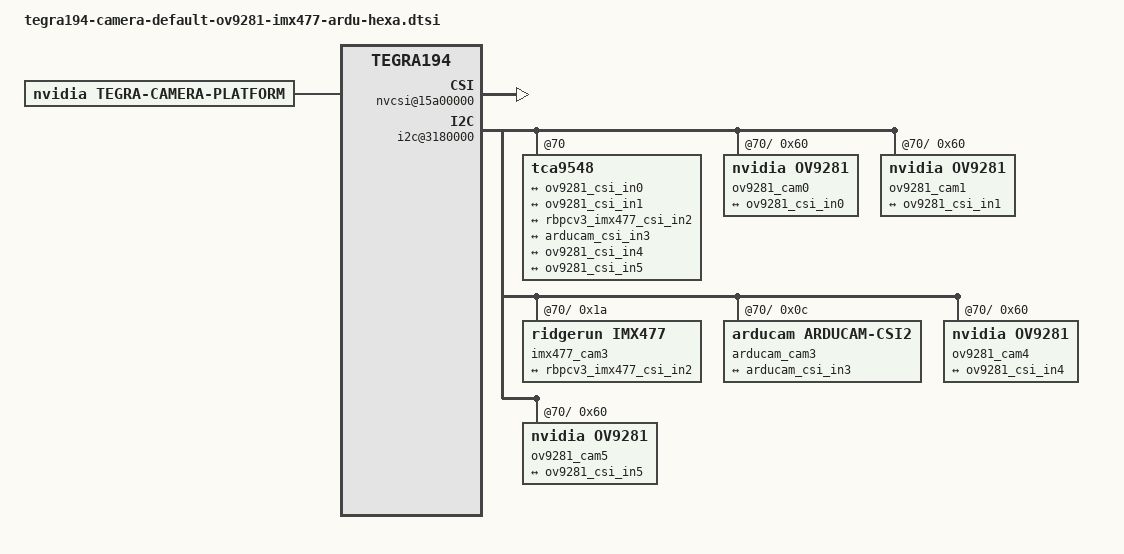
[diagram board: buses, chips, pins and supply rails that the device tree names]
/*
 * Copyright (c) 2015-2019, NVIDIA CORPORATION.  All rights reserved.
 *
 * This program is free software; you can redistribute it and/or modify
 * it under the terms of the GNU General Public License as published by
 * the Free Software Foundation; either version 2 of the License, or
 * (at your option) any later version.
 *
 * This program is distributed in the hope that it will be useful, but WITHOUT
 * ANY WARRANTY; without even the implied warranty of MERCHANTABILITY or
 * FITNESS FOR A PARTICULAR PURPOSE.  See the GNU General Public License for
 * more details.
 *
 * You should have received a copy of the GNU General Public License
 * along with this program.  If not, see <http://www.gnu.org/licenses/>.
 */

#include <dt-bindings/media/camera.h>
/ {
	tegra-capture-vi  {
			num-channels = <6>;
			ports {
				status="okay";
				#address-cells = <1>;
				#size-cells = <0>;
				port@0 {
					status="okay";
					reg = <0>;
					ov9281_vi_in0: endpoint {
						status="okay";
						port-index = <0>;
						bus-width = <2>;
						remote-endpoint = <&ov9281_csi_out0>;
					};
				};
				port@1 {
					status="okay";
					reg = <1>;
					ov9281_vi_in1: endpoint {
						status="okay";
						port-index = <2>;
						bus-width = <2>;
						remote-endpoint = <&ov9281_csi_out1>;
					};
				};
				port@2 {
					status="okay";
					reg = <2>;
					rbpcv3_imx477_vi_in2: endpoint {
						status="okay";
						port-index = <3>;
						bus-width = <2>;
						remote-endpoint = <&rbpcv3_imx477_csi_out2>;
					};
				};
				port@3 {  
					status="okay";
					reg = <3>;					
					arducam_vi_in3: endpoint {
						status="okay";
						port-index = <4>;
						bus-width = <2>;
						remote-endpoint = <&arducam_csi_out3>;
					};
				};
				port@4 {
					status="okay";
					reg = <4>;
					ov9281_vi_in4: endpoint {
						status="okay";
						port-index = <1>;
						bus-width = <2>;
						remote-endpoint = <&ov9281_csi_out4>;
					};
				};
				port@5 {
					status="okay";
					reg = <5>;
					ov9281_vi_in5: endpoint {
						status="okay";
						port-index = <5>;
						bus-width = <2>;
						remote-endpoint = <&ov9281_csi_out5>;
					};
				};				
			};
		
	};
	
	host1x@13e00000 {	
		nvcsi@15a00000 {
			num-channels = <6>;
			#address-cells = <1>;
			#size-cells = <0>;
			status="okay";
			channel@0 {
				reg = <0>;
				status="okay";
				ports {
					#address-cells = <1>;
					#size-cells = <0>;
					status="okay";
					port@0 {
						reg = <0>;
						status="okay";
						ov9281_csi_in0: endpoint@0 {
							status="okay";
							port-index = <0>;
							bus-width = <2>;
							remote-endpoint = <&ov9281_out0>;
						};
					};
					port@1 {
						reg = <1>;
						status="okay";
						ov9281_csi_out0: endpoint@1 {
							status="okay";
							remote-endpoint = <&ov9281_vi_in0>;
						};
					};
				};
			};
			channel@1 {
				reg = <1>;
				status="okay";
				ports {
					#address-cells = <1>;
					#size-cells = <0>;
					status="okay";
					port@0 {
						status="okay";
						reg = <0>;
						ov9281_csi_in1: endpoint@2 {
							status="okay";
							port-index = <2>;
							bus-width = <2>;
							remote-endpoint = <&ov9281_out1>;
						};
					};
					csi_chan1_port1: port@1 {
						reg = <1>;
						status="okay";
						ov9281_csi_out1: endpoint@3 {
							status="okay";
							remote-endpoint = <&ov9281_vi_in1>;
						};
					};
				};
			};
			channel@2 {
				reg = <2>;
				status="okay";
				ports {
					#address-cells = <1>;
					#size-cells = <0>;
					status="okay";
					port@0 {
						status="okay";
						reg = <0>;
						rbpcv3_imx477_csi_in2: endpoint@4 {
							status="okay";
							port-index = <3>;
							bus-width = <2>;
							remote-endpoint = <&rbpcv3_imx477_out2>;
						};
					};
					port@1 {
						status="okay";
						reg = <1>;
						rbpcv3_imx477_csi_out2: endpoint@5 {
							status="okay";
							remote-endpoint = <&rbpcv3_imx477_vi_in2>;
						};
					};
				};
			};
			channel@3 {
				reg = <3>;
				status="okay";
				ports {
					#address-cells = <1>;
					#size-cells = <0>;
					status="okay";
					port@0 {
						status="okay";
						reg = <0>;						
						arducam_csi_in3: endpoint@6 {
							status="okay";
							port-index = <4>;
							bus-width = <2>;
							remote-endpoint = <&arducam_out3>;
						};
					};
					csi_chan3_port1: port@1 {
						status="okay";
						reg = <1>;						
						arducam_csi_out3: endpoint@7 {
							status="okay";
							remote-endpoint = <&arducam_vi_in3>;
						};
					};
				};
			};
			channel@4 {
				reg = <4>;
				status="okay";
				ports {
					#address-cells = <1>;
					#size-cells = <0>;
					status="okay";
					port@0 {
						status="okay";
						reg = <0>;
						ov9281_csi_in4: endpoint@8 {
							status="okay";
							port-index = <1>;
							bus-width = <2>;
							remote-endpoint = <&ov9281_out4>;
						};
					};
					port@1 {
						status="okay";
						reg = <1>;
						ov9281_csi_out4: endpoint@9 {
							status="okay";
							remote-endpoint = <&ov9281_vi_in4>;
						};
					};
				};
			};
			channel@5 {
				reg = <5>;
				status="okay";
				ports {
					#address-cells = <1>;
					#size-cells = <0>;
					status="okay";
					port@0 {
						status="okay";
						reg = <0>;
						ov9281_csi_in5: endpoint@10 {
							status="okay";
							port-index = <6>;
							bus-width = <2>;
							remote-endpoint = <&ov9281_out5>;
						};
					};
					port@1 {
						status="okay";
						reg = <1>;
						ov9281_csi_out5: endpoint@11 {
							status="okay";
							remote-endpoint = <&ov9281_vi_in5>;
						};
					};
				};
			};
		};	
	};

	i2c@3180000{ 		
		tca9548@70 {			
			i2c@0 {	/*CSI A*/				
				ov9281_cam0: ov9281_a@60 {
					status="okay";
					compatible = "nvidia,ov9281";
					/* I2C device address */ 
					reg = <0x60>;
					/* V4L2 device node location */
					devnode = "video0";

					/* Physical dimensions of sensor */
                	physical_w = "3.680";
                	physical_h = "2.760";

					sensor_model = "ov9281";
					use_sensor_mode_id = "true";					
					fsync = "slave-trigger"; /*none/slave-trigger*/

					mode0 { /* OV9281_MODE_1280x800 */						
						mclk_khz = "26000";						
						num_lanes = "2";
						tegra_sinterface = "serial_a";
						phy_mode = "DPHY";
						discontinuous_clk = "no";
						dpcm_enable = "false";
						cil_settletime = "0";
						active_w = "1280";
						active_h = "800";	
						pixel_t = "gray";
						csi_pixel_bit_depth = "10";

						readout_orientation = "90";
						line_length = "1408";											
						inherent_gain = "1";		
						mclk_multiplier = "7.69";	// mclk_multiplier = pix_clk_hx/mclk						
						pix_clk_hz = "200000000"; //800mbps*2lines/8bit per pixel

						gain_factor = "1";
						framerate_factor = "1";
						exposure_factor = "1";
						min_gain_val = "16"; 
						max_gain_val = "250"; 
						step_gain_val = "1";
						default_gain = "16"; /* 1.0x real gain */
						min_framerate = "5"; /* ? fps */
						max_framerate = "156"; 
						step_framerate = "1";
						default_framerate = "156"; /* 120.0 fps */
						min_exp_time = "20"; 
						max_exp_time = "14300"; 
						step_exp_time = "1";
						default_exp_time = "10896"; 

						embedded_metadata_height = "0";
					};
					mode1 { /* OV9281_MODE_1280x720 */
						mclk_khz = "26000";						
						num_lanes = "2";
						tegra_sinterface = "serial_a";
						phy_mode = "DPHY";
						discontinuous_clk = "no";
						dpcm_enable = "false";
						cil_settletime = "0";

						active_w = "1280";
						active_h = "720";	
						pixel_t = "gray";

						readout_orientation = "90";
						line_length = "1408";											
						inherent_gain = "1";		
						mclk_multiplier = "7.69";					
						pix_clk_hz = "200000000";
						csi_pixel_bit_depth = "10";

						gain_factor = "1";
						framerate_factor = "1";
						exposure_factor = "1";
						min_gain_val = "16"; 
						max_gain_val = "250"; 
						step_gain_val = "1";
						default_gain = "16"; /* 1.0x real gain */
						min_framerate = "5"; /* ? fps */
						max_framerate = "156"; 
						step_framerate = "1";
						default_framerate = "156"; /* 120.0 fps */
						min_exp_time = "20"; 
						max_exp_time = "14300";
						step_exp_time = "1";
						default_exp_time = "10896";

						embedded_metadata_height = "0";
					};
					mode2 { /* OV9281_MODE_640x400 */
						mclk_khz = "26000";						
						num_lanes = "2";
						tegra_sinterface = "serial_a";
						phy_mode = "DPHY";
						discontinuous_clk = "no";
						dpcm_enable = "false";
						cil_settletime = "0";
						csi_pixel_bit_depth = "10";

						active_w = "640";
						active_h = "400";	
						pixel_t = "gray";

						readout_orientation = "90";
						line_length = "1408";											
						inherent_gain = "1";		
						mclk_multiplier = "7.69";					
						pix_clk_hz = "200000000";

						gain_factor = "1";
						framerate_factor = "1";
						exposure_factor = "1";
						min_gain_val = "16"; 
						max_gain_val = "250"; 
						step_gain_val = "1";
						default_gain = "16"; /* 1.0x real gain */
						min_framerate = "5"; /* ? fps */
						max_framerate = "274"; 
						step_framerate = "1";
						default_framerate = "274"; /* 120.0 fps */
						min_exp_time = "20"; 
						max_exp_time = "8120"; 
						step_exp_time = "1";
						default_exp_time = "6189";

						embedded_metadata_height = "0";
					};
					ports {
						#address-cells = <1>;
						#size-cells = <0>;
						status="okay";

						port@0 {
							reg = <0>;
							status="okay";
							ov9281_out0: endpoint {
								status="okay";
								port-index = <0>;
								bus-width = <2>;
								remote-endpoint = <&ov9281_csi_in0>;
							};
						};
					};
				};
			};
			i2c@1 {  /*CSI C*/				 	
				ov9281_cam1: ov9281_c@60 {
					status="okay";
					compatible = "nvidia,ov9281";
					/* I2C device address */ 
					reg = <0x60>;
					/* V4L2 device node location */
					devnode = "video1";

					/* Physical dimensions of sensor */
                	physical_w = "3.680";
                	physical_h = "2.760";

					sensor_model = "ov9281";
					use_sensor_mode_id = "true";
					fsync = "slave-trigger"; /*none/slave-trigger*/

					mode0 { /* OV9281_MODE_1280x800 */						
						mclk_khz = "26000";						
						num_lanes = "2";
						tegra_sinterface = "serial_c";
						phy_mode = "DPHY";
						discontinuous_clk = "no";
						dpcm_enable = "false";
						cil_settletime = "0";
						csi_pixel_bit_depth = "10";

						active_w = "1280";
						active_h = "800";	
						pixel_t = "gray";

						readout_orientation = "90";
						line_length = "1408";											
						inherent_gain = "1";		
						mclk_multiplier = "7.69";						
						pix_clk_hz = "200000000";

						gain_factor = "1";
						framerate_factor = "1";
						exposure_factor = "1";
						min_gain_val = "16"; 
						max_gain_val = "250"; 
						step_gain_val = "1";
						default_gain = "16"; /* 1.0x real gain */
						min_framerate = "5"; /* ? fps */
						max_framerate = "156"; 
						step_framerate = "1";
						default_framerate = "156"; /* 120.0 fps */
						min_exp_time = "20"; 
						max_exp_time = "14300"; 
						step_exp_time = "1";
						default_exp_time = "10896";

						embedded_metadata_height = "0";
					};
					mode1 { /* OV9281_MODE_1280x720 */
						mclk_khz = "26000";						
						num_lanes = "2";
						tegra_sinterface = "serial_c";
						phy_mode = "DPHY";
						discontinuous_clk = "no";
						dpcm_enable = "false";
						cil_settletime = "0";
						csi_pixel_bit_depth = "10";

						active_w = "1280";
						active_h = "720";	
						pixel_t = "gray";

						readout_orientation = "90";
						line_length = "1408";											
						inherent_gain = "1";		
						mclk_multiplier = "7.69";					
						pix_clk_hz = "200000000";

						gain_factor = "1";
						framerate_factor = "1";
						exposure_factor = "1";
						min_gain_val = "16"; 
						max_gain_val = "250"; 
						step_gain_val = "1";
						default_gain = "16"; /* 1.0x real gain */
						min_framerate = "5"; /* ? fps */
						max_framerate = "156"; 
						step_framerate = "1";
						default_framerate = "156"; /* 120.0 fps */
						min_exp_time = "20"; 
						max_exp_time = "14300"; 
						step_exp_time = "1";
						default_exp_time = "10896";

						embedded_metadata_height = "0";
					};
					mode2 { /* OV9281_MODE_640x400 */
						mclk_khz = "26000";						
						num_lanes = "2";
						tegra_sinterface = "serial_c";
						phy_mode = "DPHY";
						discontinuous_clk = "no";
						dpcm_enable = "false";
						cil_settletime = "0";
						csi_pixel_bit_depth = "10";

						active_w = "640";
						active_h = "400";	
						pixel_t = "gray";

						readout_orientation = "90";
						line_length = "1408";											
						inherent_gain = "1";		
						mclk_multiplier = "7.69";					
						pix_clk_hz = "200000000";

						gain_factor = "1";
						framerate_factor = "1";
						exposure_factor = "1";
						min_gain_val = "16"; 
						max_gain_val = "250"; 
						step_gain_val = "1";
						default_gain = "16"; /* 1.0x real gain */
						min_framerate = "5"; /* ? fps */
						max_framerate = "274"; 
						step_framerate = "1";
						default_framerate = "274"; /* 120.0 fps */
						min_exp_time = "20"; 
						max_exp_time = "8120"; 
						step_exp_time = "1";
						default_exp_time = "6189";

						embedded_metadata_height = "0";
					};
					ports {
						#address-cells = <1>;
						#size-cells = <0>;
						status="okay";

						port@0 {
							reg = <0>;
							status="okay";
							ov9281_out1: endpoint {
								status="okay";
								port-index = <2>;
								bus-width = <2>;
								remote-endpoint = <&ov9281_csi_in1>;
							};
						};
					};
				};
			};
			i2c@2 {	/*CSI B*/		
			imx477_cam3: rbpcv3_imx477_d@1a {
					status="okay";
					compatible = "ridgerun,imx477";
					/* I2C device address */
					reg = <0x1a>;

					/* V4L2 device node location */
					devnode = "video0";

					/* Physical dimensions of sensor */
					physical_w = "7.564";
					physical_h = "5.476";

					sensor_model = "imx477";

					use_sensor_mode_id = "true";

					mode0 { /* IMX477_MODE_4032X3040 */
						mclk_khz = "24000";
						num_lanes = "2";
						tegra_sinterface = "serial_d";
						phy_mode = "DPHY";
						discontinuous_clk = "no";
						dpcm_enable = "false";
						cil_settletime = "0";

						active_w = "4032";
						active_h = "3040";
						mode_type = "bayer";
						pixel_phase = "rggb";
						csi_pixel_bit_depth = "10";
						readout_orientation = "90";
						line_length = "9024";
						inherent_gain = "1";
						mclk_multiplier = "80";
						pix_clk_hz = "840000000";

						gain_factor = "16";
						framerate_factor = "1000000";
						exposure_factor = "1000000";
						min_gain_val = "16"; /* 1.00x */
						max_gain_val = "356"; /* 22x */
						step_gain_val = "1";
						default_gain = "16"; /* 1.00x */
						min_hdr_ratio = "1";
						max_hdr_ratio = "1";
						min_framerate = "2000000"; /* 2.0 fps */
						max_framerate = "30000000"; /* 30.0 fps */
						step_framerate = "1";
						default_framerate = "30000000"; /* 30.0 fps */
						min_exp_time = "13"; /* us */
						max_exp_time = "683709"; /* us */
						step_exp_time = "1";
						default_exp_time = "2495"; /* us */

						embedded_metadata_height = "2";
					};
					mode1 { /* IMX477_MODE_1920X1080 */
						mclk_khz = "24000";
						num_lanes = "2";
						tegra_sinterface = "serial_d";
						phy_mode = "DPHY";
						discontinuous_clk = "no";
						dpcm_enable = "false";
						cil_settletime = "0";

						active_w = "1920";
						active_h = "1080";
						mode_type = "bayer";
						pixel_phase = "rggb";
						csi_pixel_bit_depth = "10";
						readout_orientation = "90";
						line_length = "9024";
						inherent_gain = "1";
						mclk_multiplier = "80";
						pix_clk_hz = "840000000";

						gain_factor = "16";
						framerate_factor = "1000000";
						exposure_factor = "1000000";
						min_gain_val = "16"; /* 1.00x */
						max_gain_val = "356"; /* 22x */
						step_gain_val = "1";
						default_gain = "16"; /* 1.00x */
						min_hdr_ratio = "1";
						max_hdr_ratio = "1";
						min_framerate = "2000000"; /* 2.0 fps */
						max_framerate = "60000000"; /* 60.0 fps */
						step_framerate = "1";
						default_framerate = "60000000"; /* 60.0 fps */
						min_exp_time = "13"; /* us */
						max_exp_time = "683709"; /* us */
						step_exp_time = "1";
						default_exp_time = "2495"; /* us */

						embedded_metadata_height = "2";
					};

				ports {
					#address-cells = <1>;
					#size-cells = <0>;

					port@0 {
						reg = <0>;
						rbpcv3_imx477_out2: endpoint {
							port-index = <3>;
							bus-width = <2>;
							remote-endpoint = <&rbpcv3_imx477_csi_in2>;
						};
					};
				};
			};
		};
			i2c_3:i2c@3 { /*CSI D*/
				arducam_cam3: arducam_e@0c {
					status="okay";
					compatible = "arducam,arducam-csi2";
					/* I2C device address */
					reg = <0x0c>;

					/* V4L2 device node location */
					devnode = "video3";

					/* Physical dimensions of sensor */
					physical_w = "3.680";
					physical_h = "2.760";

					sensor_model = "arducam-csi2";

					use_sensor_mode_id = "true";

					/**
					* ==== Modes ====
					* A modeX node is required to support v4l2 driver
					* implementation with NVIDIA camera software stack
					*
					* == Signal properties ==
					*
					* phy_mode = "";
					* PHY mode used by the MIPI lanes for this device
					*
					* tegra_sinterface = "";
					* CSI Serial interface connected to tegra
					* Incase of virtual HW devices, use virtual
					* For SW emulated devices, use host
					*
					* pix_clk_hz = "";
					* Sensor pixel clock used for calculations like exposure and framerate
					*
					* readout_orientation = "0";
					* Based on camera module orientation.
					* Only change readout_orientation if you specifically
					* Program a different readout order for this mode
					*
					* == Image format Properties ==
					*
					* active_w = "";
					* Pixel active region width
					*
					* active_h = "";
					* Pixel active region height
					*
					* pixel_t = "";
					* The sensor readout pixel pattern
					*
					* line_length = "";
					* Pixel line length (width) for sensor mode.
					*
					* == Source Control Settings ==
					*
					* Gain factor used to convert fixed point integer to float
					* Gain range [min_gain/gain_factor, max_gain/gain_factor]
					* Gain step [step_gain/gain_factor is the smallest step that can be configured]
					* Default gain [Default gain to be initialized for the control.
					*     use min_gain_val as default for optimal results]
					* Framerate factor used to convert fixed point integer to float
					* Framerate range [min_framerate/framerate_factor, max_framerate/framerate_factor]
					* Framerate step [step_framerate/framerate_factor is the smallest step that can be configured]
					* Default Framerate [Default framerate to be initialized for the control.
					*     use max_framerate to get required performance]
					* Exposure factor used to convert fixed point integer to float
					* For convenience use 1 sec = 1000000us as conversion factor
					* Exposure range [min_exp_time/exposure_factor, max_exp_time/exposure_factor]
					* Exposure step [step_exp_time/exposure_factor is the smallest step that can be configured]
					* Default Exposure Time [Default exposure to be initialized for the control.
					*     Set default exposure based on the default_framerate for optimal exposure settings]
					*
					* gain_factor = ""; (integer factor used for floating to fixed point conversion)
					* min_gain_val = ""; (ceil to integer)
					* max_gain_val = ""; (ceil to integer)
					* step_gain_val = ""; (ceil to integer)
					* default_gain = ""; (ceil to integer)
					* Gain limits for mode
					*
					* exposure_factor = ""; (integer factor used for floating to fixed point conversion)
					* min_exp_time = ""; (ceil to integer)
					* max_exp_time = ""; (ceil to integer)
					* step_exp_time = ""; (ceil to integer)
					* default_exp_time = ""; (ceil to integer)
					* Exposure Time limits for mode (sec)
					*
					* framerate_factor = ""; (integer factor used for floating to fixed point conversion)
					* min_framerate = ""; (ceil to integer)
					* max_framerate = ""; (ceil to integer)
					* step_framerate = ""; (ceil to integer)
					* default_framerate = ""; (ceil to integer)
					* Framerate limits for mode (fps)
					*
					* embedded_metadata_height = "";
					* Sensor embedded metadata height in units of rows.
					* If sensor does not support embedded metadata value should be 0.
					*/
					mode0 {
						mclk_khz = "24000";
						num_lanes = "2";
						tegra_sinterface = "serial_e";
						phy_mode = "DPHY";
						discontinuous_clk = "yes";
						dpcm_enable = "false";
						cil_settletime = "0";
						csi_pixel_bit_depth = "10";

						active_w = "3200";
						active_h = "1300";
						pixel_t = "gray";
						readout_orientation = "90";
						line_length = "3448";
						inherent_gain = "1";
						mclk_multiplier = "9.33";
						pix_clk_hz = "300000000";

						gain_factor = "16";
						framerate_factor = "1000000";
						exposure_factor = "1000000";
						min_gain_val = "16"; /* 1.00x */
						max_gain_val = "170"; /* 10.66x */
						step_gain_val = "1";
						default_gain = "16"; /* 1.00x */
						min_hdr_ratio = "1";
						max_hdr_ratio = "1";
						min_framerate = "2000000"; /* 2.0 fps */
						max_framerate = "21000000"; /* 21.0 fps */
						step_framerate = "1";
						default_framerate = "21000000"; /* 21.0 fps */
						min_exp_time = "13"; /* us */
						max_exp_time = "683709"; /* us */
						step_exp_time = "1";
						default_exp_time = "2495"; /* us */

						embedded_metadata_height = "0";
					};

					ports {
						#address-cells = <1>;
						#size-cells = <0>;
						status="okay";
						port@0 {
							status="okay";
							reg = <0>;
							arducam_out3: endpoint {
								status="okay";
								port-index = <4>;
								bus-width = <2>;
								remote-endpoint = <&arducam_csi_in3>;
							};
						};
					};
				};
			};
			i2c@4 {	/*CSI F*/				
				ov9281_cam4: ov9281_b@60 {
					status="okay";
					compatible = "nvidia,ov9281";
					/* I2C device address */ 
					reg = <0x60>;
					/* V4L2 device node location */
					devnode = "video4";

					/* Physical dimensions of sensor */
                	physical_w = "3.680";
                	physical_h = "2.760";

					sensor_model = "ov9281";
					use_sensor_mode_id = "true";
					fsync = "slave-trigger"; /*none/slave-trigger*/

					mode0 { /* OV9281_MODE_1280x800 */						
						mclk_khz = "26000";						
						num_lanes = "2";
						tegra_sinterface = "serial_b";
						phy_mode = "DPHY";
						discontinuous_clk = "no";
						dpcm_enable = "false";
						cil_settletime = "0";
						csi_pixel_bit_depth = "10";

						active_w = "1280";
						active_h = "800";	
						pixel_t = "gray";

						readout_orientation = "90";
						line_length = "1408";											
						inherent_gain = "1";		
						mclk_multiplier = "7.69";						
						pix_clk_hz = "200000000";

						gain_factor = "1";
						framerate_factor = "1";
						exposure_factor = "1";
						min_gain_val = "16"; 
						max_gain_val = "250"; 
						step_gain_val = "1";
						default_gain = "16"; /* 1.0x real gain */
						min_framerate = "5"; /* ? fps */
						max_framerate = "156"; 
						step_framerate = "1";
						default_framerate = "156"; /* 120.0 fps */
						min_exp_time = "20"; 
						max_exp_time = "14300"; 
						step_exp_time = "1";
						default_exp_time = "10896";

						embedded_metadata_height = "0";
					};
					mode1 { /* OV9281_MODE_1280x720 */
						mclk_khz = "26000";						
						num_lanes = "2";
						tegra_sinterface = "serial_b";
						phy_mode = "DPHY";
						discontinuous_clk = "no";
						dpcm_enable = "false";
						cil_settletime = "0";
						csi_pixel_bit_depth = "10";

						active_w = "1280";
						active_h = "720";	
						pixel_t = "gray";

						readout_orientation = "90";
						line_length = "1408";											
						inherent_gain = "1";		
						mclk_multiplier = "7.69";					
						pix_clk_hz = "200000000";

						gain_factor = "1";
						framerate_factor = "1";
						exposure_factor = "1";
						min_gain_val = "16"; 
						max_gain_val = "250"; 
						step_gain_val = "1";
						default_gain = "16"; /* 1.0x real gain */
						min_framerate = "5"; /* ? fps */
						max_framerate = "156"; 
						step_framerate = "1";
						default_framerate = "156"; /* 120.0 fps */
						min_exp_time = "20"; 
						max_exp_time = "14300"; 
						step_exp_time = "1";
						default_exp_time = "10896";

						embedded_metadata_height = "0";
					};
					mode2 { /* OV9281_MODE_640x400 */
						mclk_khz = "26000";						
						num_lanes = "2";
						tegra_sinterface = "serial_b";
						phy_mode = "DPHY";
						discontinuous_clk = "no";
						dpcm_enable = "false";
						cil_settletime = "0";
						csi_pixel_bit_depth = "10";

						active_w = "640";
						active_h = "400";	
						pixel_t = "gray";

						readout_orientation = "90";
						line_length = "1408";											
						inherent_gain = "1";		
						mclk_multiplier = "7.69";					
						pix_clk_hz = "200000000";

						gain_factor = "1";
						framerate_factor = "1";
						exposure_factor = "1";
						min_gain_val = "16"; 
						max_gain_val = "250"; 
						step_gain_val = "1";
						default_gain = "16"; /* 1.0x real gain */
						min_framerate = "5"; /* ? fps */
						max_framerate = "274"; 
						step_framerate = "1";
						default_framerate = "274"; /* 120.0 fps */
						min_exp_time = "20"; 
						max_exp_time = "8120"; 
						step_exp_time = "1";
						default_exp_time = "6189";

						embedded_metadata_height = "0";
					};
					ports {
						#address-cells = <1>;
						#size-cells = <0>;
						status="okay";

						port@0 {
							reg = <0>;
							status="okay";
							ov9281_out4: endpoint {
								status="okay";
								port-index = <1>;
								bus-width = <2>;
								remote-endpoint = <&ov9281_csi_in4>;
							};
						};
					};
				};
			};
			i2c@5 {	/*CSI E*/		
				ov9281_cam5: ov9281_g@60 {
					status="okay";
					compatible = "nvidia,ov9281";
					/* I2C device address */ 
					reg = <0x60>;
					/* V4L2 device node location */
					devnode = "video5";

					/* Physical dimensions of sensor */
                	physical_w = "3.680";
                	physical_h = "2.760";

					sensor_model = "ov9281";
					use_sensor_mode_id = "true";
					fsync = "slave-trigger"; /*none/slave-trigger*/

					mode0 { /* OV9281_MODE_1280x800 */						
						mclk_khz = "26000";						
						num_lanes = "2";
						tegra_sinterface = "serial_g";
						phy_mode = "DPHY";
						discontinuous_clk = "no";
						dpcm_enable = "false";
						cil_settletime = "0";
						csi_pixel_bit_depth = "10";

						active_w = "1280";
						active_h = "800";	
						pixel_t = "gray";

						readout_orientation = "90";
						line_length = "1408";											
						inherent_gain = "1";		
						mclk_multiplier = "7.69";						
						pix_clk_hz = "200000000";

						gain_factor = "1";
						framerate_factor = "1";
						exposure_factor = "1";
						min_gain_val = "16"; 
						max_gain_val = "250"; 
						step_gain_val = "1";
						default_gain = "16"; /* 1.0x real gain */
						min_framerate = "5"; /* ? fps */
						max_framerate = "156"; 
						step_framerate = "1";
						default_framerate = "156"; /* 120.0 fps */
						min_exp_time = "20"; 
						max_exp_time = "14300"; 
						step_exp_time = "1";
						default_exp_time = "10896";

						embedded_metadata_height = "0";
					};
					mode1 { /* OV9281_MODE_1280x720 */
						mclk_khz = "26000";						
						num_lanes = "2";
						tegra_sinterface = "serial_g";
						phy_mode = "DPHY";
						discontinuous_clk = "no";
						dpcm_enable = "false";
						cil_settletime = "0";
						csi_pixel_bit_depth = "10";

						active_w = "1280";
						active_h = "720";	
						pixel_t = "gray";

						readout_orientation = "90";
						line_length = "1408";											
						inherent_gain = "1";		
						mclk_multiplier = "7.69";					
						pix_clk_hz = "200000000";

						gain_factor = "1";
						framerate_factor = "1";
						exposure_factor = "1";
						min_gain_val = "16"; 
						max_gain_val = "250"; 
						step_gain_val = "1";
						default_gain = "16"; /* 1.0x real gain */
						min_framerate = "5"; /* ? fps */
						max_framerate = "156"; 
						step_framerate = "1";
						default_framerate = "156"; /* 120.0 fps */
						min_exp_time = "20"; 
						max_exp_time = "14300"; 
						step_exp_time = "1";
						default_exp_time = "10896";

						embedded_metadata_height = "0";
					};
					mode2 { /* OV9281_MODE_640x400 */
						mclk_khz = "26000";						
						num_lanes = "2";
						tegra_sinterface = "serial_g";
						phy_mode = "DPHY";
						discontinuous_clk = "no";
						dpcm_enable = "false";
						cil_settletime = "0";
						csi_pixel_bit_depth = "10";

						active_w = "640";
						active_h = "400";	
						pixel_t = "gray";

						readout_orientation = "90";
						line_length = "1408";											
						inherent_gain = "1";		
						mclk_multiplier = "7.69";					
						pix_clk_hz = "200000000";

						gain_factor = "1";
						framerate_factor = "1";
						exposure_factor = "1";
						min_gain_val = "16"; 
						max_gain_val = "250"; 
						step_gain_val = "1";
						default_gain = "16"; /* 1.0x real gain */
						min_framerate = "5"; /* ? fps */
						max_framerate = "274"; 
						step_framerate = "1";
						default_framerate = "274"; /* 120.0 fps */
						min_exp_time = "20"; 
						max_exp_time = "8120"; 
						step_exp_time = "1";
						default_exp_time = "6189";

						embedded_metadata_height = "0";
					};					
					ports {
						#address-cells = <1>;
						#size-cells = <0>;
						status="okay";

						port@0 {
							reg = <0>;
							status="okay";
							ov9281_out5: endpoint {
								status="okay";
								port-index = <5>;
								bus-width = <2>;
								remote-endpoint = <&ov9281_csi_in5>;
						};
					};
				};
				};
			};
		};		
	};	
};

/ {
	tegra-camera-platform {
		compatible = "nvidia, tegra-camera-platform";	
		/**
		* Physical settings to calculate max ISO BW
		*
		* num_csi_lanes = <>;
		* Total number of CSI lanes when all cameras are active
		*
		* max_lane_speed = <>;
		* Max lane speed in Kbit/s
		*
		* min_bits_per_pixel = <>;
		* Min bits per pixel
		*
		* vi_peak_byte_per_pixel = <>;
		* Max byte per pixel for the VI ISO case
		*
		* vi_bw_margin_pct = <>;
		* Vi bandwidth margin in percentage
		*
		* max_pixel_rate = <>;
		* Max pixel rate in Kpixel/s for the ISP ISO case
		* Set this to the highest pix_clk_hz out of all available modes.
		*
		* isp_peak_byte_per_pixel = <>;
		* Max byte per pixel for the ISP ISO case
		*
		* isp_bw_margin_pct = <>;
		* Isp bandwidth margin in percentage
		*/
		num_csi_lanes = <12>;
		max_lane_speed = <1500000>;
		min_bits_per_pixel = <8>;
		vi_peak_byte_per_pixel = <2>;
		vi_bw_margin_pct = <25>;
		max_pixel_rate = <7500000>;
		isp_peak_byte_per_pixel = <5>;
		isp_bw_margin_pct = <25>;


		/**
		* The general guideline for naming badge_info contains 3 parts, and is as follows,
		* The first part is the camera_board_id for the module; if the module is in a FFD
		* platform, then use the platform name for this part.
		* The second part contains the position of the module, ex. “rear” or “front”.
		* The third part contains the last 6 characters of a part number which is found
		* in the module's specsheet from the vender.
		*/
		modules { 
			status="okay";
			module0 {
				badge = "jakku_bottomright_AVOV9281";
				position = "bottomright";
				orientation = "1";
				status="okay";
				drivernode0 {
					status="okay";
					pcl_id = "v4l2_sensor";
					devname = "ov9281 30-0060";
					proc-device-tree = "/proc/device-tree/i2c@3180000/tca9548@70/i2c@0/ov9281_a@60"; 
				};
			};
			module1 {
				badge = "jakku_centerright_AVOV9281";
				position = "centerright";
				orientation = "1";
				status="okay";
				drivernode0 {
					status="okay";
					pcl_id = "v4l2_sensor";
					devname = "ov9281 31-0060";
					proc-device-tree = "/proc/device-tree/i2c@3180000/tca9548@70/i2c@1/ov9281_c@60";
				};
			};
			module2 {
				badge = "jakku_bottomleft_AVOV9281";
				position = "bottomleft";
				orientation = "1";
				status="okay";
				drivernode0 {
					status="okay";
					pcl_id = "v4l2_sensor";
					devname = "imx477 32-001a";
					proc-device-tree = "/proc/device-tree/i2c@3180000/tca9548@70/i2c@2/rbpcv3_imx477_d@1a";
				};
			};
			module3 {
				badge = "jakku_centerleft_AVOV9281";
				position = "centerleft";
				orientation = "1";
				status="okay";
				drivernode0 {
					status="okay";
					pcl_id = "v4l2_sensor";
					devname = "arducam-csi2 33-000c";
					proc-device-tree = "/proc/device-tree/i2c@3180000/tca9548@70/i2c@3/arducam_e@0c";
				};
				drivernode1 {
					status="okay";
					pcl_id = "v4l2_lens";
					proc-device-tree = "/proc/device-tree/lens_imx219@RBPCV2/";
				};
			};
			module4 {
				badge = "jakku_topright_AVOV9281";
				position = "topright";
				orientation = "1";
				status="okay";
				drivernode0 {
					status="okay";
					pcl_id = "v4l2_sensor";
					devname = "ov9281 34-0060";
					proc-device-tree = "/proc/device-tree/i2c@3180000/tca9548@70/i2c@4/ov9281_b@60";
				};
			};
			module5 {
				badge = "jakku_topleft_AVOV9281";
				position = "topleft";
				orientation = "1";
				status="okay";
				drivernode0 {
					status="okay";
					pcl_id = "v4l2_sensor";
					devname = "ov9281 35-0060";
					proc-device-tree = "/proc/device-tree/i2c@3180000/tca9548@70/i2c@5/ov9281_g@60";
				};
			};
		};
	};
};



		
